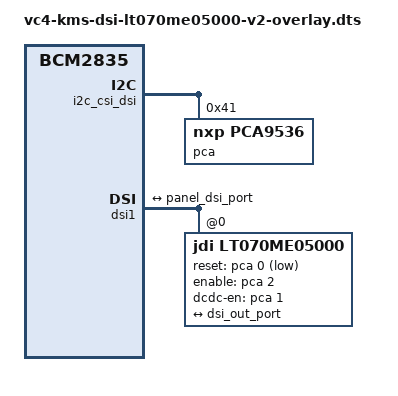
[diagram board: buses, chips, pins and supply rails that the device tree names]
/*
 * Device Tree overlay to connect a JDI LT070ME05000 DSI panel to DSI1.
 * This uses 4 DSI data lanes, so can only be used with a Compute Module.
 *
 * The overlay is for V2 of Harlab's interface board that uses a PCA9536 to
 * handle the panel's control GPIOs instead of wiring it back to Pi GPIOs.
 *
 * Credit to Andrey Vostrukhin of Harlab for the overlay.
 *
 * Refer to https://github.com/harlab/CM4_LCD_LT070ME05000 for schematics and
 * other documentation.
 */

/dts-v1/;
/plugin/;

/ {
	compatible = "brcm,bcm2835";

	fragment@0 {
		target = <&i2c_csi_dsi>;
		__overlay__ {
			#address-cells = <1>;
			#size-cells = <0>;
			status = "okay";

			pca: pca@41 {
				compatible = "nxp,pca9536";
				reg = <0x41>;
				gpio-controller;
				#gpio-cells = <2>;
				status = "okay";
			};
		};
	};

	fragment@1 {
		target = <&dsi1>;
		__overlay__{
			status = "okay";
			#address-cells = <1>;
			#size-cells = <0>;
			port {
				dsi_out_port:endpoint {
					remote-endpoint = <&panel_dsi_port>;
				};
			};

			lt070me05000:lt070me05000@0 {
				compatible    = "jdi,lt070me05000";
				status        = "okay";
				reg           = <0>;
				reset-gpios   = <&pca 0 1>;
				enable-gpios  = <&pca 2 0>;
				dcdc-en-gpios = <&pca 1 0>;
				port {
					panel_dsi_port: endpoint {
						remote-endpoint = <&dsi_out_port>;
					};
				};
			};
		};
	};
};
